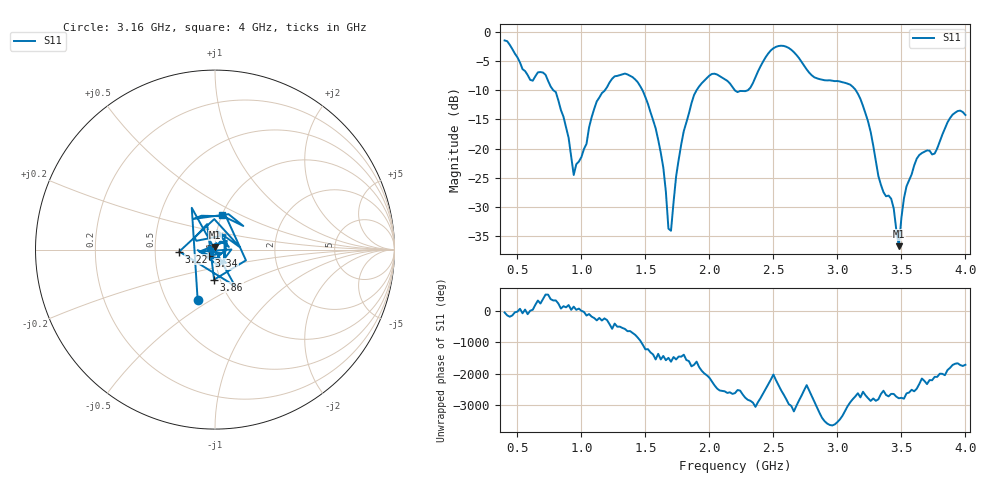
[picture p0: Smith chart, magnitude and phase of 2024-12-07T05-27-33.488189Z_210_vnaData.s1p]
!Created with skrf (http://scikit-rf.org).
# Hz S RI R 50.0
!freq ReS11 ImS11
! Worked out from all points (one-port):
!   181 points, 400 MHz to 4 GHz, reference 50 ohm
!   lowest |S11| = -36.8 dB at 3.48 GHz (marker M1), VSWR 1.03, Z = 49.9 + j1.45 ohm
!   |S11| at or under -10 dB: 780.5 MHz to 1.183 GHz (402.9 MHz wide, 41 % of centre); 1.477 GHz to 1.9 GHz (422.4 MHz wide, 25 % of centre); 3.144 GHz to end of sweep (the widest 3 of 4)
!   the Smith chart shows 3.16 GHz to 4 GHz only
!   S11 on the Smith chart (normalised r, x): 3.16 GHz: 0.71, -0.44; 3.22 GHz: 0.67, -0.02; 3.34 GHz: 0.93, -0.07; 3.86 GHz: 0.94, -0.32; 4 GHz: 1.00, +0.40
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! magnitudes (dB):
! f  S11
! 400 MHz  -1.5
! 600 MHz  -8.2
! 720 MHz  -7.3
! 860 MHz  -14.6
! 940 MHz  -24.5
! 1.12 GHz  -11.9
! 1.3 GHz  -7.4
! 1.44 GHz  -8.6
! 1.56 GHz  -15.1
! 1.64 GHz  -23.3
! 1.68 GHz  -33.8
! 1.7 GHz  -34.1
! 1.76 GHz  -21.9
! 1.94 GHz  -8.8
! 2.2 GHz  -10.0
! 2.32 GHz  -9.6
! 2.5 GHz  -2.8
! 2.66 GHz  -3.5
! 3.1 GHz  -9.0
! 3.16 GHz  -10.6
! 3.22 GHz  -14.0
! 3.34 GHz  -26.2
! 3.42 GHz  -28.6
! 3.48 GHz  -36.8
! 3.52 GHz  -28.6
! 3.56 GHz  -25.4
! 3.86 GHz  -15.5
! 4 GHz  -14.2
